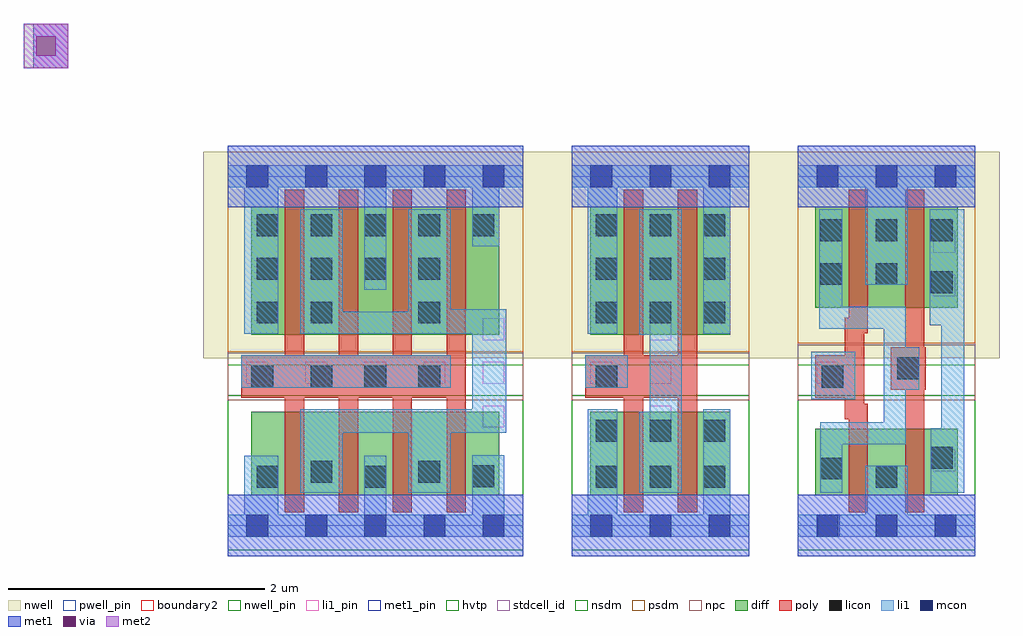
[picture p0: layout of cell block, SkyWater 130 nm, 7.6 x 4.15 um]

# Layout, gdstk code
import gdstk
lib = gdstk.Library(unit=1e-6, precision=1e-09)
def R(c, l, rs):  # rectangles x0, y0, x1, y1
    for r in rs: c.add(gdstk.rectangle(r[:2], r[2:], *l))
def A(c, l, x, y, w, h, nx, ny, dx, dy):  # array of equal rectangles
    R(c, l, [(x+i*dx, y+j*dy, x+i*dx+w, y+j*dy+h) for i in range(nx) for j in range(ny)])
def P(c, l, *ps):  # polygons
    for p in ps: c.add(gdstk.Polygon(p, *l))
nwell_pin = (64, 16)
nwell = (64, 20)
diff = (65, 20)
poly = (66, 20)
licon = (66, 44)
li1_pin = (67, 16)
li1 = (67, 20)
mcon = (67, 44)
met1_pin = (68, 16)
met1 = (68, 20)
via = (68, 44)
met2 = (69, 20)
hvtp = (78, 44)
stdcell_id = (81, 4)
nsdm = (93, 44)
psdm = (94, 20)
npc = (95, 20)
pwell_pin = (122, 16)
boundary2 = (236, 0)

sky130_fd_sc_hd__inv_4 = lib.new_cell('sky130_fd_sc_hd__inv_4')
R(sky130_fd_sc_hd__inv_4, nwell_pin, [(0.145,2.635,0.315,2.805)])
R(sky130_fd_sc_hd__inv_4, nwell, [(-0.19,1.305,2.49,2.91)])
R(sky130_fd_sc_hd__inv_4, diff, [(0.185,0.235,2.115,0.885), (0.185,1.485,2.115,2.485)])
P(sky130_fd_sc_hd__inv_4, poly, [(0.445,0.105),(0.445,0.995),(0.105,0.995),(0.105,1.325),(0.445,1.325),(0.445,2.615),(0.595,2.615),(0.595,1.325),(0.865,1.325),(0.865,2.615),(1.015,2.615),(1.015,1.325),(1.285,1.325),(1.285,2.615),(1.435,2.615),(1.435,1.325),(1.705,1.325),(1.705,2.615),(1.855,2.615),(1.855,0.105),(1.705,0.105),(1.705,0.995),(1.435,0.995),(1.435,0.105),(1.285,0.105),(1.285,0.995),(1.015,0.995),(1.015,0.105),(0.865,0.105),(0.865,0.995),(0.595,0.995),(0.595,0.105)])
A(sky130_fd_sc_hd__inv_4, licon, 0.645, 1.075, 0.17, 0.17, 3, 1, 0.42, 0)
A(sky130_fd_sc_hd__inv_4, licon, 0.225, 1.915, 0.17, 0.17, 4, 1, 0.42, 0)
A(sky130_fd_sc_hd__inv_4, licon, 0.225, 2.255, 0.17, 0.17, 5, 1, 0.42, 0)
R(sky130_fd_sc_hd__inv_4, licon, [(0.225,0.295,0.395,0.465), (1.065,0.295,1.235,0.465), (1.905,0.3,2.075,0.47), (0.645,0.335,0.815,0.505), (1.485,0.335,1.655,0.505), (0.185,1.075,0.355,1.245), (0.225,1.575,0.395,1.745), (0.645,1.575,0.815,1.745), (1.485,1.575,1.655,1.745)])
A(sky130_fd_sc_hd__inv_4, li1_pin, 0.145, 1.105, 0.17, 0.17, 5, 1, 0.46, 0)
R(sky130_fd_sc_hd__inv_4, li1_pin, [(1.985,0.765,2.155,0.935), (1.985,1.445,2.155,1.615)])
R(sky130_fd_sc_hd__inv_4, li1, [(0.105,1.075,1.735,1.325)])
P(sky130_fd_sc_hd__inv_4, li1, [(0,-0.085),(0,0.085),(0.13,0.085),(0.13,0.545),(0.395,0.545),(0.395,0.085),(1.065,0.085),(1.065,0.545),(1.235,0.545),(1.235,0.085),(1.905,0.085),(1.905,0.55),(2.155,0.55),(2.155,0.085),(2.3,0.085),(2.3,-0.085)],
  [(0.13,1.495),(0.13,2.635),(0,2.635),(0,2.805),(2.3,2.805),(2.3,2.635),(2.115,2.635),(2.115,2.175),(1.905,2.175),(1.905,2.635),(1.235,2.635),(1.235,1.835),(1.065,1.835),(1.065,2.635),(0.395,2.635),(0.395,1.495)],
  [(0.565,0.255),(0.565,0.905),(1.905,0.905),(1.905,1.495),(0.565,1.495),(0.565,2.465),(0.895,2.465),(0.895,1.665),(1.405,1.665),(1.405,2.465),(1.735,2.465),(1.735,1.685),(2.17,1.685),(2.17,0.725),(1.735,0.725),(1.735,0.255),(1.405,0.255),(1.405,0.725),(0.895,0.725),(0.895,0.255)])
A(sky130_fd_sc_hd__inv_4, mcon, 0.145, -0.085, 0.17, 0.17, 5, 2, 0.46, 2.72)
R(sky130_fd_sc_hd__inv_4, met1_pin, [(0.145,-0.085,0.315,0.085), (0.145,2.635,0.315,2.805)])
R(sky130_fd_sc_hd__inv_4, hvtp, [(0,1.25,2.3,2.72)])
R(sky130_fd_sc_hd__inv_4, stdcell_id, [(0,0,2.3,2.72)])
R(sky130_fd_sc_hd__inv_4, nsdm, [(0,-0.19,2.3,1.015)])
R(sky130_fd_sc_hd__inv_4, psdm, [(0,1.355,2.3,2.91)])
R(sky130_fd_sc_hd__inv_4, npc, [(0,0.975,2.3,1.345)])
R(sky130_fd_sc_hd__inv_4, pwell_pin, [(0.145,-0.085,0.315,0.085)])
R(sky130_fd_sc_hd__inv_4, boundary2, [(0,0,2.3,2.72)])
sky130_fd_sc_hd__inv_4.add(gdstk.FlexPath([(0,2.72),(2.3,2.72)], 0.48, ends="flush", simple_path=True, layer=68, datatype=20))  # met1
sky130_fd_sc_hd__inv_4.add(gdstk.FlexPath([(0,0),(2.3,0)], 0.48, ends="flush", simple_path=True, layer=68, datatype=20))  # met1
sky130_fd_sc_hd__inv_4.add(gdstk.Label('Y', (2.07,0.85), layer=67, texttype=5))
sky130_fd_sc_hd__inv_4.add(gdstk.Label('Y', (2.07,1.19), layer=67, texttype=5))
sky130_fd_sc_hd__inv_4.add(gdstk.Label('Y', (2.07,1.53), layer=67, texttype=5))
sky130_fd_sc_hd__inv_4.add(gdstk.Label('A', (0.23,1.19), layer=67, texttype=5))
sky130_fd_sc_hd__inv_4.add(gdstk.Label('A', (0.69,1.19), layer=67, texttype=5))
sky130_fd_sc_hd__inv_4.add(gdstk.Label('A', (1.15,1.19), layer=67, texttype=5))
sky130_fd_sc_hd__inv_4.add(gdstk.Label('A', (1.61,1.19), layer=67, texttype=5))
sky130_fd_sc_hd__inv_4.add(gdstk.Label('VPB', (0.23,2.72), layer=64, texttype=5))
sky130_fd_sc_hd__inv_4.add(gdstk.Label('VNB', (0.23,0), layer=64, texttype=59))
sky130_fd_sc_hd__inv_4.add(gdstk.Label('VPWR', (0.23,2.72), layer=68, texttype=5))
sky130_fd_sc_hd__inv_4.add(gdstk.Label('VGND', (0.23,0), layer=68, texttype=5))
sky130_fd_sc_hd__inv_4.add(gdstk.Label('inv_4', (0,0), layer=83, texttype=44))

sky130_fd_sc_hd__inv_2 = lib.new_cell('sky130_fd_sc_hd__inv_2')
R(sky130_fd_sc_hd__inv_2, nwell_pin, [(0.145,2.635,0.315,2.805)])
R(sky130_fd_sc_hd__inv_2, nwell, [(-0.19,1.305,1.57,2.91)])
R(sky130_fd_sc_hd__inv_2, diff, [(0.145,0.235,1.235,0.885), (0.145,1.485,1.235,2.485)])
P(sky130_fd_sc_hd__inv_2, poly, [(0.405,0.105),(0.405,0.995),(0.105,0.995),(0.105,1.325),(0.405,1.325),(0.405,2.615),(0.555,2.615),(0.555,1.325),(0.825,1.325),(0.825,2.615),(0.975,2.615),(0.975,0.105),(0.825,0.105),(0.825,0.995),(0.555,0.995),(0.555,0.105)])
A(sky130_fd_sc_hd__inv_2, licon, 0.185, 0.295, 0.17, 0.17, 3, 2, 0.42, 0.36)
A(sky130_fd_sc_hd__inv_2, licon, 0.185, 1.575, 0.17, 0.17, 3, 3, 0.42, 0.34)
R(sky130_fd_sc_hd__inv_2, licon, [(0.185,1.075,0.355,1.245)])
A(sky130_fd_sc_hd__inv_2, li1_pin, 0.605, 0.765, 0.17, 0.17, 1, 3, 0, 0.34)
R(sky130_fd_sc_hd__inv_2, li1_pin, [(0.145,1.105,0.315,1.275)])
R(sky130_fd_sc_hd__inv_2, li1, [(0.105,1.075,0.435,1.325)])
P(sky130_fd_sc_hd__inv_2, li1, [(0.125,1.495),(0.125,2.635),(0,2.635),(0,2.805),(1.38,2.805),(1.38,2.635),(1.235,2.635),(1.235,1.495),(1.025,1.495),(1.025,2.635),(0.355,2.635),(0.355,1.495)],
  [(0.525,0.255),(0.525,0.885),(0.605,0.885),(0.605,1.485),(0.525,1.485),(0.525,2.465),(0.855,2.465),(0.855,0.255)],
  [(0,-0.085),(0,0.085),(0.125,0.085),(0.125,0.905),(0.355,0.905),(0.355,0.085),(1.025,0.085),(1.025,0.905),(1.235,0.905),(1.235,0.085),(1.38,0.085),(1.38,-0.085)])
A(sky130_fd_sc_hd__inv_2, mcon, 0.145, -0.085, 0.17, 0.17, 3, 2, 0.46, 2.72)
R(sky130_fd_sc_hd__inv_2, met1_pin, [(0.145,-0.085,0.315,0.085), (0.145,2.635,0.315,2.805)])
R(sky130_fd_sc_hd__inv_2, hvtp, [(0,1.25,1.38,2.72)])
R(sky130_fd_sc_hd__inv_2, stdcell_id, [(0,0,1.38,2.72)])
R(sky130_fd_sc_hd__inv_2, nsdm, [(0,-0.19,1.38,1.015)])
R(sky130_fd_sc_hd__inv_2, psdm, [(0,1.355,1.38,2.91)])
R(sky130_fd_sc_hd__inv_2, npc, [(0,0.975,1.38,1.345)])
R(sky130_fd_sc_hd__inv_2, pwell_pin, [(0.145,-0.085,0.315,0.085)])
R(sky130_fd_sc_hd__inv_2, boundary2, [(0,0,1.38,2.72)])
sky130_fd_sc_hd__inv_2.add(gdstk.FlexPath([(0,2.72),(1.38,2.72)], 0.48, ends="flush", simple_path=True, layer=68, datatype=20))  # met1
sky130_fd_sc_hd__inv_2.add(gdstk.FlexPath([(0,0),(1.38,0)], 0.48, ends="flush", simple_path=True, layer=68, datatype=20))  # met1
sky130_fd_sc_hd__inv_2.add(gdstk.Label('A', (0.23,1.19), layer=67, texttype=5))
sky130_fd_sc_hd__inv_2.add(gdstk.Label('Y', (0.69,0.85), layer=67, texttype=5))
sky130_fd_sc_hd__inv_2.add(gdstk.Label('Y', (0.69,1.53), layer=67, texttype=5))
sky130_fd_sc_hd__inv_2.add(gdstk.Label('Y', (0.69,1.19), layer=67, texttype=5))
sky130_fd_sc_hd__inv_2.add(gdstk.Label('VPB', (0.23,2.72), layer=64, texttype=5))
sky130_fd_sc_hd__inv_2.add(gdstk.Label('VNB', (0.23,0), layer=64, texttype=59))
sky130_fd_sc_hd__inv_2.add(gdstk.Label('VPWR', (0.23,2.72), layer=68, texttype=5))
sky130_fd_sc_hd__inv_2.add(gdstk.Label('VGND', (0.23,0), layer=68, texttype=5))
sky130_fd_sc_hd__inv_2.add(gdstk.Label('inv_2', (0,0), layer=83, texttype=44))

sky130_fd_sc_hd__buf_1 = lib.new_cell('sky130_fd_sc_hd__buf_1')
R(sky130_fd_sc_hd__buf_1, nwell_pin, [(0.145,2.635,0.315,2.805)])
R(sky130_fd_sc_hd__buf_1, nwell, [(-0.19,1.305,1.57,2.91)])
R(sky130_fd_sc_hd__buf_1, diff, [(0.135,0.235,1.245,0.755), (0.135,1.695,1.245,2.485)])
P(sky130_fd_sc_hd__buf_1, poly, [(0.835,0.105),(0.835,1.06),(0.725,1.06),(0.725,1.39),(0.835,1.39),(0.835,2.615),(0.985,2.615),(0.985,1.39),(0.995,1.39),(0.995,1.06),(0.985,1.06),(0.985,0.105)],
  [(0.395,0.105),(0.395,0.83),(0.365,0.83),(0.365,0.995),(0.135,0.995),(0.135,1.325),(0.365,1.325),(0.365,1.62),(0.395,1.62),(0.395,2.615),(0.545,2.615),(0.545,1.5),(0.515,1.5),(0.515,0.95),(0.545,0.95),(0.545,0.105)])
A(sky130_fd_sc_hd__buf_1, licon, 0.175, 2.215, 0.17, 0.17, 3, 1, 0.43, 0)
R(sky130_fd_sc_hd__buf_1, licon, [(0.605,0.295,0.775,0.465), (0.175,0.36,0.345,0.53), (1.035,0.445,1.205,0.615), (0.185,1.075,0.355,1.245), (0.775,1.14,0.945,1.31), (1.035,1.81,1.205,1.98), (0.175,1.875,0.345,2.045), (0.605,1.875,0.775,2.045)])
R(sky130_fd_sc_hd__buf_1, li1_pin, [(0.155,-0.085,0.325,0.085), (1.055,0.425,1.225,0.595), (0.145,1.105,0.315,1.275), (1.055,1.785,1.225,1.955), (1.055,2.125,1.225,2.295), (0.145,2.635,0.315,2.805)])
R(sky130_fd_sc_hd__buf_1, li1, [(0.105,0.985,0.445,1.355)])
P(sky130_fd_sc_hd__buf_1, li1, [(1.035,0.255),(1.035,0.76),(1.115,0.76),(1.115,1.56),(1.025,1.56),(1.025,2.465),(1.295,2.465),(1.295,0.255)],
  [(0,-0.085),(0,0.085),(0.525,0.085),(0.525,0.465),(0.855,0.465),(0.855,0.085),(1.38,0.085),(1.38,-0.085)],
  [(0.175,0.255),(0.175,0.805),(0.67,0.805),(0.67,1.535),(0.165,1.535),(0.165,2.465),(0.345,2.465),(0.345,1.705),(0.84,1.705),(0.84,1.39),(0.945,1.39),(0.945,1.06),(0.84,1.06),(0.84,0.635),(0.345,0.635),(0.345,0.255)],
  [(0.525,1.875),(0.525,2.635),(0,2.635),(0,2.805),(1.38,2.805),(1.38,2.635),(0.855,2.635),(0.855,1.875)])
A(sky130_fd_sc_hd__buf_1, mcon, 0.145, -0.085, 0.17, 0.17, 3, 2, 0.46, 2.72)
R(sky130_fd_sc_hd__buf_1, met1_pin, [(0.155,-0.085,0.325,0.085), (0.145,2.635,0.315,2.805)])
R(sky130_fd_sc_hd__buf_1, hvtp, [(0,1.25,1.38,2.72)])
R(sky130_fd_sc_hd__buf_1, stdcell_id, [(0,0,1.38,2.72)])
R(sky130_fd_sc_hd__buf_1, nsdm, [(0,-0.19,1.38,1.015)])
R(sky130_fd_sc_hd__buf_1, psdm, [(0,1.42,1.38,2.91)])
R(sky130_fd_sc_hd__buf_1, npc, [(0,0.975,1.38,1.41)])
R(sky130_fd_sc_hd__buf_1, pwell_pin, [(0.155,-0.085,0.325,0.085)])
R(sky130_fd_sc_hd__buf_1, boundary2, [(0,0,1.38,2.72)])
sky130_fd_sc_hd__buf_1.add(gdstk.FlexPath([(0,0),(1.38,0)], 0.48, ends="flush", simple_path=True, layer=68, datatype=20))  # met1
sky130_fd_sc_hd__buf_1.add(gdstk.FlexPath([(0,2.72),(1.38,2.72)], 0.48, ends="flush", simple_path=True, layer=68, datatype=20))  # met1
sky130_fd_sc_hd__buf_1.add(gdstk.Label('VPWR', (0.23,2.72), layer=67, texttype=5))
sky130_fd_sc_hd__buf_1.add(gdstk.Label('VGND', (0.23,0), layer=67, texttype=5))
sky130_fd_sc_hd__buf_1.add(gdstk.Label('X', (1.14,0.51), layer=67, texttype=5))
sky130_fd_sc_hd__buf_1.add(gdstk.Label('X', (1.14,1.87), layer=67, texttype=5))
sky130_fd_sc_hd__buf_1.add(gdstk.Label('X', (1.14,2.21), layer=67, texttype=5))
sky130_fd_sc_hd__buf_1.add(gdstk.Label('A', (0.23,1.19), layer=67, texttype=5))
sky130_fd_sc_hd__buf_1.add(gdstk.Label('VPB', (0.23,2.72), layer=64, texttype=5))
sky130_fd_sc_hd__buf_1.add(gdstk.Label('VNB', (0.23,0), layer=64, texttype=59))
sky130_fd_sc_hd__buf_1.add(gdstk.Label('VGND', (0.23,0), layer=68, texttype=5))
sky130_fd_sc_hd__buf_1.add(gdstk.Label('VPWR', (0.23,2.72), layer=68, texttype=5))
sky130_fd_sc_hd__buf_1.add(gdstk.Label('buf_1', (0,0), layer=83, texttype=44))

block = lib.new_cell('block')
R(block, met1, [(-1.515,3.56,-1.24,3.91)])
R(block, via, [(-1.49,3.66,-1.34,3.81)])
R(block, met2, [(-1.59,3.56,-1.24,3.91)])
block.add(gdstk.Reference(sky130_fd_sc_hd__inv_4, (0,0)))
block.add(gdstk.Reference(sky130_fd_sc_hd__inv_2, (2.68,0)))
block.add(gdstk.Reference(sky130_fd_sc_hd__buf_1, (4.44,0)))

lib.write_gds('block.gds')
